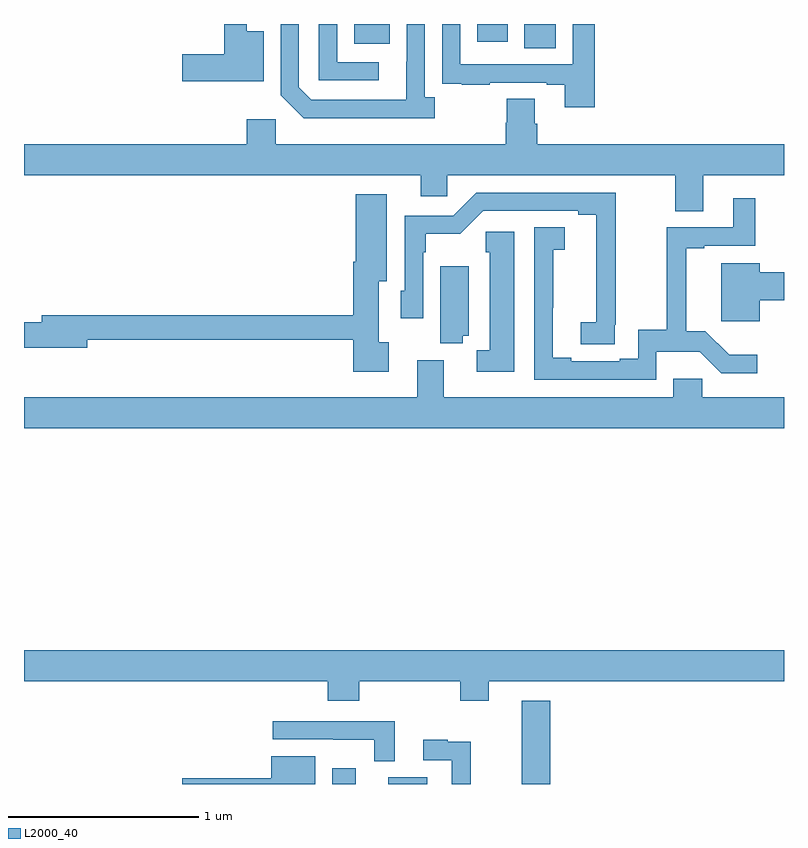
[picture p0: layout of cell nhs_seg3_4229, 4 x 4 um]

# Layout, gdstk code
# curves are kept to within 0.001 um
import gdstk
lib = gdstk.Library(unit=1e-6, precision=1e-09)
def R(c, l, rs):  # rectangles x0, y0, x1, y1
    for r in rs: c.add(gdstk.rectangle(r[:2], r[2:], *l))
def P(c, l, *ps):  # polygons
    for p in ps: c.add(gdstk.Polygon(p, *l))
L2000_40 = (2000, 40)

nhs_seg3_4229 = lib.new_cell('nhs_seg3_4229')
R(nhs_seg3_4229, L2000_40, [(336.623,676.4,336.745,676.483), (336.917,676.4,337.123,676.435), (337.619,676.4,337.769,676.837), (337.634,680.272,337.798,680.4), (336.737,680.297,336.925,680.4), (337.385,680.307,337.546,680.4)])
P(nhs_seg3_4229, L2000_40, [(337.162,680.014),(337.11,680.014),(337.11,680.4),(337.014,680.4),(337.013,680.001),(336.513,680.001),(336.447,680.067),(336.447,680.4),(336.351,680.4),(336.351,680.025),(336.472,679.904),(337.162,679.904)],
  [(336.262,680.362),(336.173,680.362),(336.173,680.4),(336.055,680.4),(336.055,680.24),(335.832,680.24),(335.832,680.098),(336.262,680.098)],
  [(336.868,680.199),(336.648,680.199),(336.648,680.4),(336.552,680.4),(336.552,680.103),(336.868,680.103)],
  [(338.003,680.4),(337.887,680.4),(337.887,680.187),(337.296,680.187),(337.296,680.4),(337.2,680.4),(337.2,680.194),(337.201,680.194),(337.201,680.085),(337.303,680.085),(337.303,680.079),(337.451,680.079),(337.451,680.091),(337.751,680.091),(337.751,680.079),(337.847,680.079),(337.847,679.962),(338.003,679.962)],
  [(338.575,679.604),(339,679.604),(339,679.768),(337.7,679.768),(337.7,679.874),(337.687,679.874),(337.687,680.006),(337.54,680.006),(337.54,679.881),(337.535,679.881),(337.535,679.768),(336.324,679.768),(336.324,679.9),(336.173,679.9),(336.173,679.768),(335,679.768),(335,679.604),(337.088,679.604),(337.088,679.494),(337.227,679.494),(337.227,679.604),(338.428,679.604),(338.428,679.414),(338.575,679.414)],
  [(338.108,678.817),(338.114,678.817),(338.114,679.512),(337.38,679.512),(337.26,679.392),(337.005,679.392),(337.005,678.996),(336.984,678.996),(336.984,678.852),(337.101,678.852),(337.101,679.199),(337.114,679.199),(337.114,679.295),(337.295,679.295),(337.416,679.416),(337.916,679.416),(337.916,679.396),(338.012,679.396),(338.011,678.83),(337.929,678.83),(337.929,678.715),(338.108,678.715)],
  [(336.919,678.726),(336.868,678.726),(336.868,679.046),(336.91,679.046),(336.91,679.504),(336.746,679.504),(336.746,679.15),(336.734,679.15),(336.734,678.866),(335.093,678.866),(335.093,678.83),(335,678.83),(335,678.695),(335.332,678.695),(335.332,678.738),(336.734,678.738),(336.734,678.57),(336.919,678.57)],
  [(338.328,678.674),(338.557,678.674),(338.67,678.561),(338.86,678.561),(338.86,678.658),(338.711,678.658),(338.585,678.784),(338.486,678.784),(338.486,679.221),(338.581,679.221),(338.581,679.233),(338.849,679.233),(338.849,679.483),(338.732,679.483),(338.732,679.329),(338.383,679.329),(338.383,678.791),(338.232,678.791),(338.232,678.638),(338.135,678.638),(338.135,678.624),(337.879,678.624),(337.879,678.644),(337.783,678.644),(337.783,678.907),(337.785,678.907),(337.785,679.211),(337.846,679.211),(337.846,679.331),(337.686,679.331),(337.686,678.528),(338.328,678.528)],
  [(337.579,679.306),(337.429,679.306),(337.429,679.2),(337.451,679.2),(337.451,678.684),(337.383,678.684),(337.383,678.569),(337.579,678.569)],
  [(338.872,678.947),(339,678.947),(339,679.094),(338.872,679.094),(338.872,679.141),(338.669,679.141),(338.669,678.836),(338.872,678.836)],
  [(337.31,678.758),(337.342,678.758),(337.342,679.126),(337.19,679.126),(337.19,678.721),(337.31,678.721)],
  [(339,678.436),(338.569,678.436),(338.569,678.534),(338.417,678.534),(338.417,678.436),(337.21,678.436),(337.21,678.631),(337.07,678.631),(337.07,678.436),(335,678.436),(335,678.272),(339,678.272)],
  [(336.764,676.94),(337.295,676.94),(337.295,676.838),(337.447,676.838),(337.447,676.94),(339,676.94),(339,677.104),(335,677.104),(335,676.94),(336.599,676.94),(336.599,676.838),(336.764,676.838)],
  [(336.952,676.731),(336.309,676.731),(336.309,676.635),(336.628,676.635),(336.628,676.634),(336.843,676.634),(336.843,676.52),(336.952,676.52)],
  [(337.352,676.622),(337.229,676.622),(337.229,676.633),(337.101,676.633),(337.101,676.524),(337.251,676.524),(337.251,676.4),(337.352,676.4)],
  [(336.532,676.546),(336.302,676.546),(336.302,676.43),(335.832,676.43),(335.832,676.4),(336.532,676.4)])

lib.write_gds('nhs_seg3_4229.gds')
